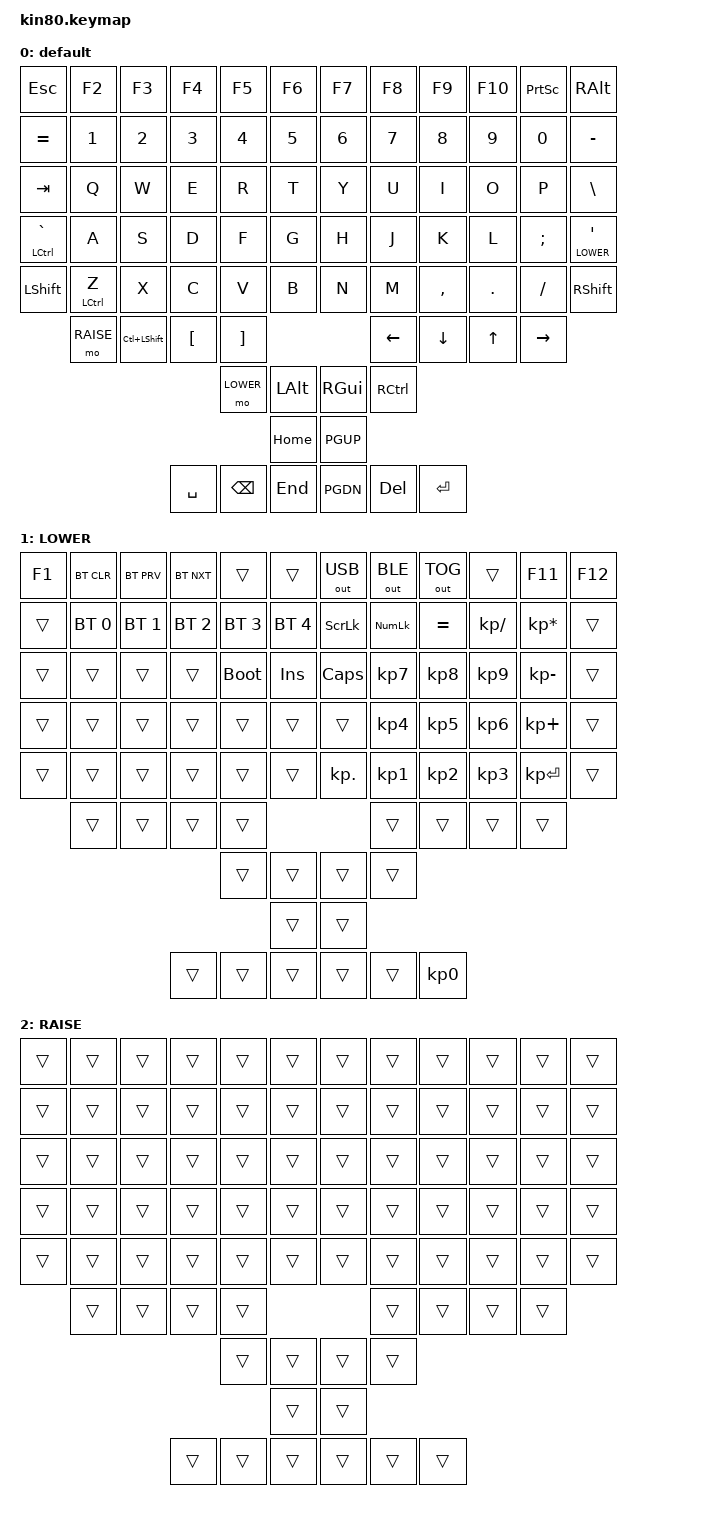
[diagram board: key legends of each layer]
/*
 * Copyright (c) 2024 The ZMK Contributors
 *
 * SPDX-License-Identifier: MIT
 */

#include <behaviors.dtsi>
#include <dt-bindings/zmk/keys.h>
#include <dt-bindings/zmk/bt.h>
#include <dt-bindings/zmk/outputs.h>
#include <dt-bindings/zmk/ext_power.h>

#define DEFAULT 0
#define LOWER   1
#define RAISE   2

/ {
    keymap {
        compatible = "zmk,keymap";

        default {
// ,-------------------------------------------.                           ,-------------------------------------------.
// |  Esc   |  F2  |  F3  |  F4  |  F5  |  F6  |                           |  F7  |  F8  |  F9  |  F10 | PrSc |  RAlt  |
// |--------+------+------+------+------+------+                           +------+------+------+------+------+--------|
// |   +=   |   1  |   2  |   3  |   4  |   5  |                           |   6  |   7  |   8  |   9  |   0  |   -    |
// |--------+------+------+------+------+------|                           +------+------+------+------+------+--------|
// |  Tab   |   Q  |   W  |   E  |   R  |   T  |                           |   Y  |   U  |   I  |   O  |   P  | \|     |
// |--------+------+------+------+------+------|                           |------+------+------+------+------+--------|
// |`~/Ctrl |   A  |   S  |   D  |   F  |   G  |                           |   H  |   J  |   K  |   L  |  ;:  |'"/LOWER|
// |--------+------+------+------+------+------|                           |------+------+------+------+------+--------|
// | Shift  |Z/Ctrl|   X  |   C  |   V  |   B  |                           |   N  |   M  |  ,.  |  .>  |  /?  | Shift  |
// `--------+------+------+------+------+------'                           `------+------+------+------+------+--------'
//          |RAISE |C+Shft|   [  |   ]  |                                         | Left | Down |  Up  | Right|
//          `---------------------------'                                         `---------------------------'
//                                        ,-------------.         ,-------------.
//                                        |LOWER | LAlt |         | Gui  | Ctrl |
//                                 ,------|------|------|         |------+------+------.
//                                 |      |      | Home |         | PgUp |      |      |
//                                 |Space |Backsp|------|         |------|  Del | Enter|
//                                 |      |      | End  |         | PgDn |      |      |
//                                 `--------------------'         `--------------------'
           bindings = <
            &kp ESC         &kp F2        &kp F3        &kp F4   &kp F5    &kp F6            &kp F7   &kp F8   &kp F9    &kp F10 &kp PSCRN &kp RALT
            &kp EQUAL       &kp N1        &kp N2        &kp N3   &kp N4    &kp N5            &kp N6   &kp N7   &kp N8    &kp N9  &kp N0    &kp MINUS
            &kp TAB         &kp Q         &kp W         &kp E    &kp R     &kp T             &kp Y    &kp U    &kp I     &kp O   &kp P     &kp BSLH
            &mt LCTRL GRAVE &kp A         &kp S         &kp D    &kp F     &kp G             &kp H    &kp J    &kp K     &kp L   &kp SEMI  &lt LOWER SQT
            &kp LSHFT       &mt LCTRL Z   &kp X         &kp C    &kp V     &kp B             &kp N    &kp M    &kp COMMA &kp DOT &kp FSLH  &kp RSHFT
                            &mo RAISE     &kp LC(LSHFT) &kp LBKT &kp RBKT                             &kp LEFT &kp DOWN  &kp UP  &kp RIGHT
                                                                 &mo LOWER &kp LALT          &kp RGUI &kp RCTRL
                                                                           &kp HOME          &kp PGUP
                                                      &kp SPACE  &kp BSPC  &kp END           &kp PGDN &kp DEL &kp ENTER
            >;
        };
        LOWER {
// ,-------------------------------------------.                           ,-------------------------------------------.
// |   F1   |BT_CLR|BT_PRV|BT_NXT|      |      |                           |O-USB |O-BLE |O-TOG |      | F11  |  F12   |
// |--------+------+------+------+------+------+                           +------+------+------+------+------+--------|
// |        | BT0  | BT1  | BT2  | BT3  | BT4  |                           |ScrLk |Numlck|  =   |  /   |  *   |        |
// |--------+------+------+------+------+------|                           +------+------+------+------+------+--------|
// |        |      |      |      | BOOT | Ins  |                           |CapsLk|  7   |  8   |  9   |  -   |        |
// |--------+------+------+------+------+------|                           |------+------+------+------+------+--------|
// |        |      |      |      |      |      |                           |      |  4   |  5   |  6   |  +   |  L1    |
// |--------+------+------+------+------+------|                           |------+------+------+------+------+--------|
// |        |      |      |      |      |      |                           |  .   |  1   |  2   |  3   |Enter |        |
// `--------+------+------+------+------+------'                           `------+------+------+------+------+--------'
//          |      |      |      |      |                                         |      |      |      |      |
//          `---------------------------'                                         `---------------------------'
//                                        ,-------------.         ,-------------.
//                                        |      |      |         |      |      |
//                                 ,------|------|------|         |------+------+------.
//                                 |      |      |      |         |      |      |      |
//                                 |      |      |------|         |------|      |  0   |
//                                 |      |      |      |         |      |      |      |
//                                 `--------------------'         `--------------------'
           bindings = <
            &kp F1  &bt BT_CLR    &bt BT_PRV    &bt BT_NXT   &trans       &trans            &out OUT_USB &out OUT_BLE &out OUT_TOG &trans       &kp F11         &kp F12
            &trans  &bt BT_SEL 0  &bt BT_SEL 1  &bt BT_SEL 2 &bt BT_SEL 3 &bt BT_SEL 4      &kp SLCK     &kp KP_NLCK  &kp EQUAL    &kp KP_SLASH &kp KP_ASTERISK &trans
            &trans  &trans        &trans        &trans       &bootloader  &kp INS           &kp CAPS     &kp KP_N7    &kp KP_N8    &kp KP_N9    &kp KP_MINUS    &trans
            &trans  &trans        &trans        &trans       &trans       &trans            &trans       &kp KP_N4    &kp KP_N5    &kp KP_N6    &kp KP_PLUS     &trans
            &trans  &trans        &trans        &trans       &trans       &trans            &kp KP_DOT   &kp KP_N1    &kp KP_N2    &kp KP_N3    &kp KP_ENTER    &trans
                    &trans        &trans        &trans       &trans                                      &trans       &trans       &trans       &trans
                                                             &trans       &trans            &trans       &trans
                                                                          &trans            &trans
                                                           &trans &trans  &trans            &trans  &trans &kp KP_N0
            >;
        };
        RAISE {
// ,-------------------------------------------.                           ,-------------------------------------------.
// |        |      |      |      |      |      |                           |      |      |      |      |      |        |
// |--------+------+------+------+------+------+                           +------+------+------+------+------+--------|
// |        |      |      |      |      |      |                           |      |      |      |      |      |        |
// |--------+------+------+------+------+------|                           +------+------+------+------+------+--------|
// |        |      |      |      |      |      |                           |      |      |      |      |      |        |
// |--------+------+------+------+------+------|                           |------+------+------+------+------+--------|
// |        |      |      |      |      |      |                           |      |      |      |      |      |        |
// |--------+------+------+------+------+------|                           |------+------+------+------+------+--------|
// |        |      |      |      |      |      |                           |      |      |      |      |      |        |
// `--------+------+------+------+------+------'                           `------+------+------+------+------+--------'
//          |      |      |      |      |                                         |      |      |      |      |
//          `---------------------------'                                         `---------------------------'
//                                        ,-------------.         ,-------------.
//                                        |      |      |         |      |      |
//                                 ,------|------|------|         |------+------+------.
//                                 |      |      |      |         |      |      |      |
//                                 |      |      |------|         |------|      |      |
//                                 |      |      |      |         |      |      |      |
//                                 `--------------------'         `--------------------'
           bindings = <
            &trans &trans &trans &trans &trans &trans            &trans &trans &trans &trans &trans &trans
            &trans &trans &trans &trans &trans &trans            &trans &trans &trans &trans &trans &trans
            &trans &trans &trans &trans &trans &trans            &trans &trans &trans &trans &trans &trans
            &trans &trans &trans &trans &trans &trans            &trans &trans &trans &trans &trans &trans
            &trans &trans &trans &trans &trans &trans            &trans &trans &trans &trans &trans &trans
                   &trans &trans &trans &trans                          &trans &trans &trans &trans
                                        &trans &trans            &trans &trans
                                               &trans            &trans
                                 &trans &trans &trans            &trans &trans &trans
           >;
        };
    };
};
